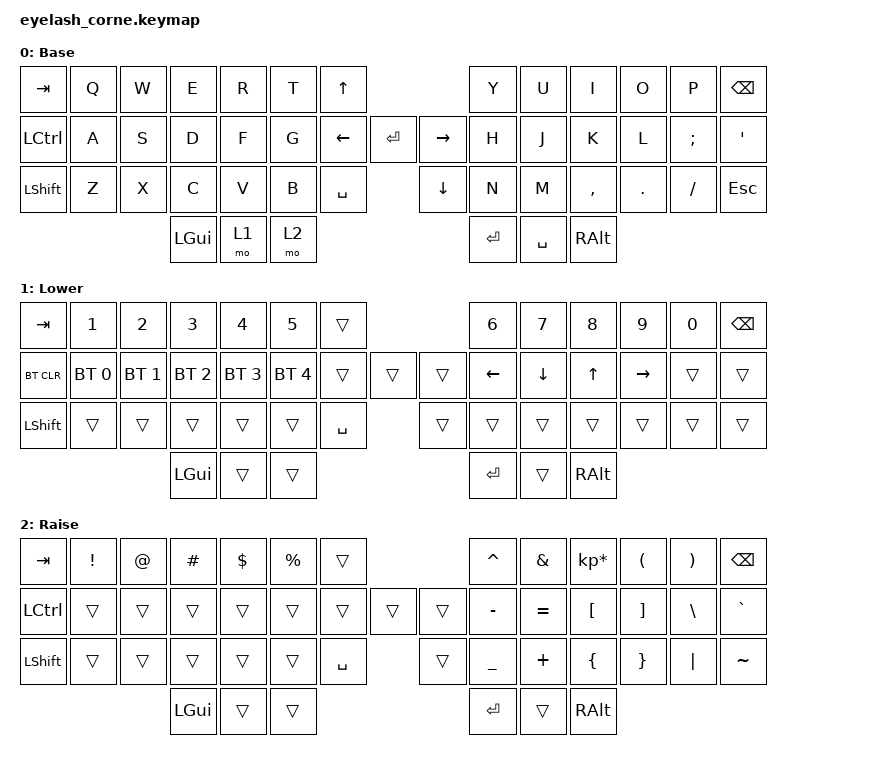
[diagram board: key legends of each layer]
/*
 * Copyright (c) 2020 The ZMK Contributors
 *
 * SPDX-License-Identifier: MIT
 *
 * Eyelash Corne 48-key layout (used by eyelash_corne_left and eyelash_corne_right).
 * Halves don't process the keymap at runtime (central/dongle does), but
 * the binding count must match the 48-key transform or the build will fail.
 */

#include <behaviors.dtsi>
#include <dt-bindings/zmk/bt.h>
#include <dt-bindings/zmk/keys.h>

/ {
    keymap {
        compatible = "zmk,keymap";

        default_layer {
            display-name = "Base";
            bindings = <
&kp TAB    &kp Q  &kp W  &kp E     &kp R  &kp T   &kp UP                     &kp Y    &kp U      &kp I      &kp O    &kp P     &kp BSPC
&kp LCTRL  &kp A  &kp S  &kp D     &kp F  &kp G   &kp LEFT  &kp RET  &kp RIGHT  &kp H    &kp J      &kp K      &kp L    &kp SEMI  &kp SQT
&kp LSHFT  &kp Z  &kp X  &kp C     &kp V  &kp B   &kp SPACE            &kp DOWN   &kp N    &kp M      &kp COMMA  &kp DOT  &kp FSLH  &kp ESC
                          &kp LGUI  &mo 1  &mo 2                                   &kp RET  &kp SPACE  &kp RALT
            >;
        };

        lower_layer {
            display-name = "Lower";
            bindings = <
&kp TAB     &kp N1        &kp N2        &kp N3        &kp N4        &kp N5   &trans                     &kp N6    &kp N7    &kp N8    &kp N9     &kp N0  &kp BSPC
&bt BT_CLR  &bt BT_SEL 0  &bt BT_SEL 1  &bt BT_SEL 2  &bt BT_SEL 3  &bt BT_SEL 4   &trans  &trans  &trans   &kp LEFT  &kp DOWN  &kp UP    &kp RIGHT  &trans  &trans
&kp LSHFT   &trans        &trans        &trans        &trans        &trans   &kp SPACE            &trans   &trans    &trans    &trans    &trans     &trans  &trans
                                        &kp LGUI      &trans        &trans                                  &kp RET   &trans    &kp RALT
            >;
        };

        raise_layer {
            display-name = "Raise";
            bindings = <
&kp TAB    &kp EXCL  &kp AT  &kp HASH  &kp DLLR  &kp PRCNT   &trans                     &kp CARET  &kp AMPS   &kp KP_MULTIPLY  &kp LPAR  &kp RPAR  &kp BSPC
&kp LCTRL  &trans    &trans  &trans    &trans    &trans       &trans  &trans  &trans      &kp MINUS  &kp EQUAL  &kp LBKT         &kp RBKT  &kp BSLH  &kp GRAVE
&kp LSHFT  &trans    &trans  &trans    &trans    &trans       &kp SPACE            &trans  &kp UNDER  &kp PLUS   &kp LBRC         &kp RBRC  &kp PIPE  &kp TILDE
                              &kp LGUI  &trans    &trans                                   &kp RET    &trans     &kp RALT
            >;
        };

        extra_1 { status = "reserved"; };
        extra_2 { status = "reserved"; };
        extra_3 { status = "reserved"; };
    };
};
